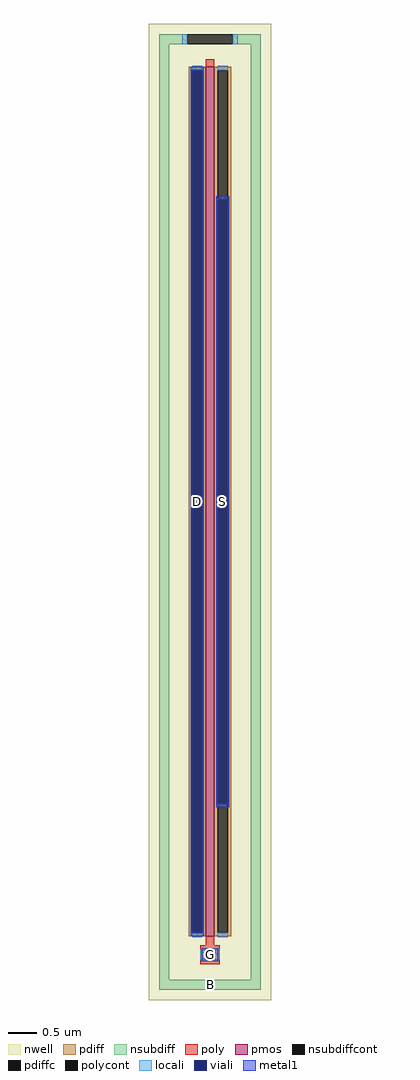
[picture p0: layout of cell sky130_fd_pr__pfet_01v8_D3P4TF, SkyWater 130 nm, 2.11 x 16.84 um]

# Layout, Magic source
magic
tech sky130A
magscale 1 2
<< nwell >>
rect -211 -1684 211 1684
<< pmos >>
rect -15 -1464 15 1536
<< pdiff >>
rect -73 1524 -15 1536
rect -73 -1452 -61 1524
rect -27 -1452 -15 1524
rect -73 -1464 -15 -1452
rect 15 1524 73 1536
rect 15 -1452 27 1524
rect 61 -1452 73 1524
rect 15 -1464 73 -1452
<< pdiffc >>
rect -61 -1452 -27 1524
rect 27 -1452 61 1524
<< nsubdiff >>
rect -175 1614 -79 1648
rect 79 1614 175 1648
rect -175 -1614 -141 1614
rect 141 -1614 175 1614
rect -175 -1648 175 -1614
<< nsubdiffcont >>
rect -79 1614 79 1648
<< poly >>
rect -15 1536 15 1562
rect -15 -1495 15 -1464
rect -33 -1511 33 -1495
rect -33 -1545 -17 -1511
rect 17 -1545 33 -1511
rect -33 -1561 33 -1545
<< polycont >>
rect -17 -1545 17 -1511
<< locali >>
rect -95 1614 -79 1648
rect 79 1614 95 1648
rect -61 1524 -27 1540
rect -61 -1468 -27 -1452
rect 27 1524 61 1540
rect 27 -1468 61 -1452
rect -33 -1545 -17 -1511
rect 17 -1545 33 -1511
<< viali >>
rect -61 -1452 -27 1524
rect 27 -1006 61 1078
rect -17 -1545 17 -1511
<< metal1 >>
rect -67 1524 -21 1536
rect -67 -1452 -61 1524
rect -27 -1452 -21 1524
rect 21 1078 67 1090
rect 21 -1006 27 1078
rect 61 -1006 67 1078
rect 21 -1018 67 -1006
rect -67 -1464 -21 -1452
rect -29 -1511 29 -1505
rect -29 -1545 -17 -1511
rect 17 -1545 29 -1511
rect -29 -1551 29 -1545
<< labels >>
rlabel nsubdiff 0 -1631 0 -1631 0 B
port 1 nsew
rlabel pdiffc -44 36 -44 36 0 D
port 2 nsew
rlabel pdiffc 44 36 44 36 0 S
port 3 nsew
rlabel polycont 0 -1528 0 -1528 0 G
port 4 nsew
<< properties >>
string FIXED_BBOX -158 -1631 158 1631
string gencell sky130_fd_pr__pfet_01v8
string library sky130
string parameters w 15 l 0.15 m 1 nf 1 diffcov 100 polycov 100 guard 1 glc 0 grc 0 gtc 1 gbc 0 tbcov 100 rlcov 100 topc 0 botc 1 poverlap 0 doverlap 1 lmin 0.15 wmin 0.42 class mosfet compatible {sky130_fd_pr__pfet_01v8  sky130_fd_pr__pfet_01v8_lvt sky130_fd_pr__pfet_01v8_hvt  sky130_fd_pr__pfet_g5v0d10v5} full_metal 0 viasrc 70 viadrn 100 viagate 100 viagb 0 viagr 0 viagl 0 viagt 0 doports 1
<< end >>
